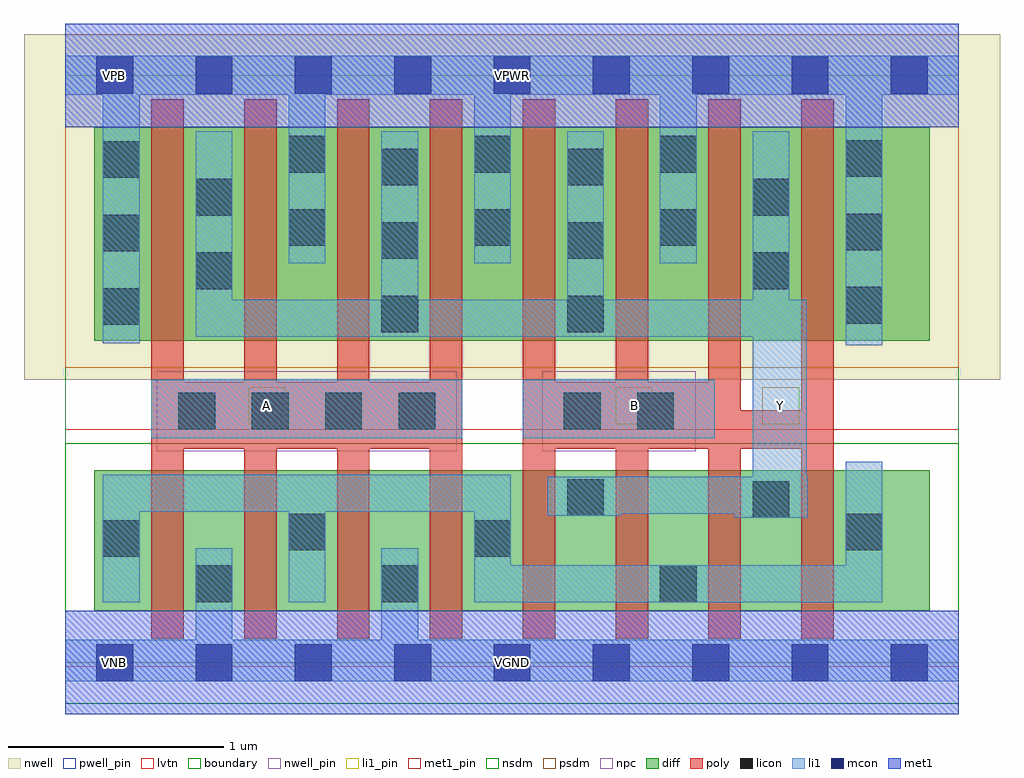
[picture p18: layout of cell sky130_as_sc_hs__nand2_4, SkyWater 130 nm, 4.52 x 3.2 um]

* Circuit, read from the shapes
.subckt sky130_as_sc_hs__nand2_4 A B VGND VNB VPB VPWR Y
XM1 VGND A n1 VNB sky130_fd_pr__nfet_01v8_lvt w=0.65 l=0.15 m=4
XM2 Y B n1 VNB sky130_fd_pr__nfet_01v8_lvt w=0.65 l=0.15 m=4
XM3 Y A VPWR VPB sky130_fd_pr__pfet_01v8 w=0.99 l=0.15 m=4
XM4 Y B VPWR VPB sky130_fd_pr__pfet_01v8 w=0.99 l=0.15 m=4
.ends

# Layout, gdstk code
import gdstk
lib = gdstk.Library(unit=1e-6, precision=1e-09)
def R(c, l, rs):  # rectangles x0, y0, x1, y1
    for r in rs: c.add(gdstk.rectangle(r[:2], r[2:], *l))
def A(c, l, x, y, w, h, nx, ny, dx, dy):  # array of equal rectangles
    R(c, l, [(x+i*dx, y+j*dy, x+i*dx+w, y+j*dy+h) for i in range(nx) for j in range(ny)])
nwell_pin = (64, 16)
nwell = (64, 20)
diff = (65, 20)
poly = (66, 20)
licon = (66, 44)
li1_pin = (67, 16)
li1 = (67, 20)
mcon = (67, 44)
met1_pin = (68, 16)
met1 = (68, 20)
nsdm = (93, 44)
psdm = (94, 20)
npc = (95, 20)
pwell_pin = (122, 16)
lvtn = (125, 44)
boundary = (235, 4)

sky130_as_sc_hs__nand2_4 = lib.new_cell('sky130_as_sc_hs__nand2_4')
R(sky130_as_sc_hs__nand2_4, nwell_pin, [(0.145,2.635,0.315,2.805)])
R(sky130_as_sc_hs__nand2_4, nwell, [(-0.19,1.31,4.33,2.91)])
R(sky130_as_sc_hs__nand2_4, diff, [(0.135,0.24,4.005,0.89), (0.135,1.49,4.005,2.48)])
A(sky130_as_sc_hs__nand2_4, poly, 0.4, 0.11, 0.15, 0.88, 8, 1, 0.43, 0)
A(sky130_as_sc_hs__nand2_4, poly, 0.4, 1.3, 0.15, 1.31, 7, 1, 0.43, 0)
R(sky130_as_sc_hs__nand2_4, poly, [(0.4,0.99,1.84,1.3), (2.12,0.99,3.56,1.17), (2.12,1.17,3.13,1.3), (3.41,1.17,3.56,2.61)])
A(sky130_as_sc_hs__nand2_4, licon, 0.525, 1.08, 0.17, 0.17, 4, 1, 0.34, 0)
A(sky130_as_sc_hs__nand2_4, licon, 1.465, 1.53, 0.17, 0.17, 1, 3, 0, 0.34)
A(sky130_as_sc_hs__nand2_4, licon, 2.325, 1.53, 0.17, 0.17, 1, 3, 0, 0.34)
A(sky130_as_sc_hs__nand2_4, licon, 0.175, 1.565, 0.17, 0.17, 1, 3, 0, 0.34)
A(sky130_as_sc_hs__nand2_4, licon, 3.615, 1.57, 0.17, 0.17, 1, 3, 0, 0.34)
A(sky130_as_sc_hs__nand2_4, licon, 1.035, 1.93, 0.17, 0.17, 3, 2, 0.86, 0.34)
R(sky130_as_sc_hs__nand2_4, licon, [(0.605,0.28,0.775,0.45), (1.465,0.28,1.635,0.45), (2.755,0.28,2.925,0.45), (0.175,0.49,0.345,0.66), (1.895,0.49,2.065,0.66), (1.035,0.52,1.205,0.69), (3.615,0.52,3.785,0.69), (3.185,0.67,3.355,0.84), (2.325,0.68,2.495,0.85), (2.31,1.08,2.48,1.25), (2.65,1.08,2.82,1.25), (0.605,1.73,0.775,1.9), (3.185,1.73,3.355,1.9), (0.605,2.07,0.775,2.24), (3.185,2.07,3.355,2.24)])
R(sky130_as_sc_hs__nand2_4, li1_pin, [(0.85,1.105,1.02,1.275), (2.55,1.105,2.72,1.275), (3.23,1.105,3.4,1.275)])
A(sky130_as_sc_hs__nand2_4, li1, 0.605, 1.68, 0.17, 0.78, 4, 1, 0.86, 0)
A(sky130_as_sc_hs__nand2_4, li1, 1.035, 1.85, 0.17, 0.78, 3, 1, 0.86, 0)
R(sky130_as_sc_hs__nand2_4, li1, [(0,-0.085,4.14,0.105), (0.605,0.105,0.775,0.53), (1.465,0.105,1.635,0.53), (0.175,0.28,0.345,0.7), (1.035,0.28,1.205,0.7), (1.895,0.28,3.785,0.45), (1.895,0.45,2.065,0.7), (3.615,0.45,3.785,0.93), (3.1,0.67,3.44,0.69), (2.235,0.68,2.575,0.69), (2.235,0.69,3.44,0.86), (0.175,0.7,2.065,0.87), (3.185,0.86,3.435,1.51), (0.4,1.04,1.84,1.31), (2.12,1.04,3.01,1.31), (3.615,1.47,3.785,2.63), (0.175,1.48,0.345,2.63), (0.605,1.51,3.435,1.68), (0,2.63,4.14,2.81)])
A(sky130_as_sc_hs__nand2_4, mcon, 0.145, -0.085, 0.17, 0.17, 9, 2, 0.46, 2.72)
R(sky130_as_sc_hs__nand2_4, met1_pin, [(0,-0.24,4.14,0.24), (0.145,-0.085,0.315,0.085), (0,2.48,4.14,2.96), (0.145,2.635,0.315,2.805)])
R(sky130_as_sc_hs__nand2_4, met1, [(0,-0.24,4.14,0.24), (0,2.48,4.14,2.96)])
R(sky130_as_sc_hs__nand2_4, nsdm, [(0,-0.19,4.14,1.015)])
R(sky130_as_sc_hs__nand2_4, psdm, [(0,1.365,4.14,2.91)])
R(sky130_as_sc_hs__nand2_4, npc, [(0.425,0.98,1.815,1.35), (2.21,0.98,2.92,1.35)])
R(sky130_as_sc_hs__nand2_4, pwell_pin, [(0.145,-0.085,0.315,0.085)])
R(sky130_as_sc_hs__nand2_4, lvtn, [(0,-0.02,4.14,1.08)])
R(sky130_as_sc_hs__nand2_4, boundary, [(0,0,4.14,2.72)])
sky130_as_sc_hs__nand2_4.add(gdstk.Label('VNB', (0.23,0), layer=64, texttype=59))
sky130_as_sc_hs__nand2_4.add(gdstk.Label('VNB', (0.23,0), layer=64, texttype=59))
sky130_as_sc_hs__nand2_4.add(gdstk.Label('VPB', (0.23,2.72), layer=64, texttype=5))
sky130_as_sc_hs__nand2_4.add(gdstk.Label('VPB', (0.23,2.72), layer=64, texttype=5))
sky130_as_sc_hs__nand2_4.add(gdstk.Label('A', (0.935,1.19), layer=67, texttype=5))
sky130_as_sc_hs__nand2_4.add(gdstk.Label('B', (2.635,1.19), layer=67, texttype=5))
sky130_as_sc_hs__nand2_4.add(gdstk.Label('Y', (3.315,1.19), layer=67, texttype=5))
sky130_as_sc_hs__nand2_4.add(gdstk.Label('A', (0.935,1.19), layer=67, texttype=5))
sky130_as_sc_hs__nand2_4.add(gdstk.Label('B', (2.635,1.19), layer=67, texttype=5))
sky130_as_sc_hs__nand2_4.add(gdstk.Label('Y', (3.315,1.19), layer=67, texttype=5))
sky130_as_sc_hs__nand2_4.add(gdstk.Label('VPWR', (2.07,2.72), layer=68, texttype=5))
sky130_as_sc_hs__nand2_4.add(gdstk.Label('VPWR', (0.23,2.72), layer=68, texttype=5))
sky130_as_sc_hs__nand2_4.add(gdstk.Label('VGND', (2.07,0), layer=68, texttype=5))
sky130_as_sc_hs__nand2_4.add(gdstk.Label('VGND', (0.23,0), layer=68, texttype=5))

lib.write_gds('sky130_as_sc_hs__nand2_4.gds')
